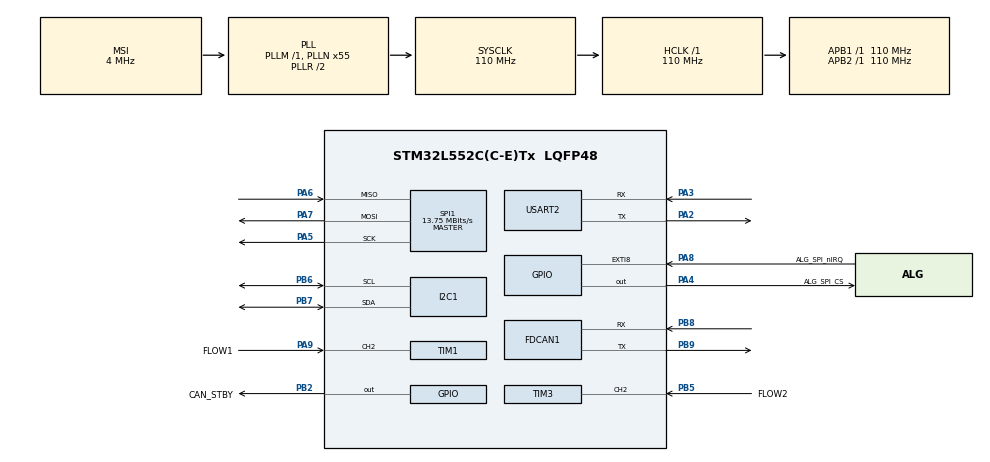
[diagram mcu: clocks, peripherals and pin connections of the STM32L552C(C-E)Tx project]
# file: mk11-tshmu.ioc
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Dma.I2C1_RX.0.Channel_PRIV_NPRIV=DMA_CHANNEL_NPRIV_DISABLE
Dma.I2C1_RX.0.Direction=DMA_PERIPH_TO_MEMORY
Dma.I2C1_RX.0.EventEnable=DISABLE
Dma.I2C1_RX.0.Instance=DMA1_Channel1
Dma.I2C1_RX.0.MemDataAlignment=DMA_MDATAALIGN_BYTE
Dma.I2C1_RX.0.MemInc=DMA_MINC_ENABLE
Dma.I2C1_RX.0.Mode=DMA_NORMAL
Dma.I2C1_RX.0.PeriphDataAlignment=DMA_PDATAALIGN_BYTE
Dma.I2C1_RX.0.PeriphInc=DMA_PINC_DISABLE
Dma.I2C1_RX.0.Polarity=HAL_DMAMUX_REQ_GEN_RISING
Dma.I2C1_RX.0.Priority=DMA_PRIORITY_LOW
Dma.I2C1_RX.0.RequestNumber=1
Dma.I2C1_RX.0.SignalID=NONE
Dma.I2C1_RX.0.SyncEnable=DISABLE
Dma.I2C1_RX.0.SyncPolarity=HAL_DMAMUX_SYNC_NO_EVENT
Dma.I2C1_RX.0.SyncRequestNumber=1
Dma.I2C1_RX.0.SyncSignalID=NONE
Dma.I2C1_TX.1.Channel_PRIV_NPRIV=DMA_CHANNEL_NPRIV_DISABLE
Dma.I2C1_TX.1.Direction=DMA_MEMORY_TO_PERIPH
Dma.I2C1_TX.1.EventEnable=DISABLE
Dma.I2C1_TX.1.Instance=DMA1_Channel2
Dma.I2C1_TX.1.MemDataAlignment=DMA_MDATAALIGN_BYTE
Dma.I2C1_TX.1.MemInc=DMA_MINC_ENABLE
Dma.I2C1_TX.1.Mode=DMA_NORMAL
Dma.I2C1_TX.1.PeriphDataAlignment=DMA_PDATAALIGN_BYTE
Dma.I2C1_TX.1.PeriphInc=DMA_PINC_DISABLE
Dma.I2C1_TX.1.Polarity=HAL_DMAMUX_REQ_GEN_RISING
Dma.I2C1_TX.1.Priority=DMA_PRIORITY_LOW
Dma.I2C1_TX.1.RequestNumber=1
Dma.I2C1_TX.1.SignalID=NONE
Dma.I2C1_TX.1.SyncEnable=DISABLE
Dma.I2C1_TX.1.SyncPolarity=HAL_DMAMUX_SYNC_NO_EVENT
Dma.I2C1_TX.1.SyncRequestNumber=1
Dma.I2C1_TX.1.SyncSignalID=NONE
Dma.Request0=I2C1_RX
Dma.Request1=I2C1_TX
Dma.Request2=SPI1_RX
Dma.Request3=SPI1_TX
Dma.SPI1_RX.2.Channel_PRIV_NPRIV=DMA_CHANNEL_NPRIV_DISABLE
Dma.SPI1_RX.2.Direction=DMA_PERIPH_TO_MEMORY
Dma.SPI1_RX.2.EventEnable=DISABLE
Dma.SPI1_RX.2.Instance=DMA1_Channel3
Dma.SPI1_RX.2.MemDataAlignment=DMA_MDATAALIGN_BYTE
Dma.SPI1_RX.2.MemInc=DMA_MINC_ENABLE
Dma.SPI1_RX.2.Mode=DMA_NORMAL
Dma.SPI1_RX.2.PeriphDataAlignment=DMA_PDATAALIGN_BYTE
Dma.SPI1_RX.2.PeriphInc=DMA_PINC_DISABLE
Dma.SPI1_RX.2.Polarity=HAL_DMAMUX_REQ_GEN_RISING
Dma.SPI1_RX.2.Priority=DMA_PRIORITY_LOW
Dma.SPI1_RX.2.RequestNumber=1
Dma.SPI1_RX.2.SignalID=NONE
Dma.SPI1_RX.2.SyncEnable=DISABLE
Dma.SPI1_RX.2.SyncPolarity=HAL_DMAMUX_SYNC_NO_EVENT
Dma.SPI1_RX.2.SyncRequestNumber=1
Dma.SPI1_RX.2.SyncSignalID=NONE
Dma.SPI1_TX.3.Channel_PRIV_NPRIV=DMA_CHANNEL_NPRIV_DISABLE
Dma.SPI1_TX.3.Direction=DMA_MEMORY_TO_PERIPH
Dma.SPI1_TX.3.EventEnable=DISABLE
Dma.SPI1_TX.3.Instance=DMA1_Channel4
Dma.SPI1_TX.3.MemDataAlignment=DMA_MDATAALIGN_BYTE
Dma.SPI1_TX.3.MemInc=DMA_MINC_ENABLE
Dma.SPI1_TX.3.Mode=DMA_NORMAL
Dma.SPI1_TX.3.PeriphDataAlignment=DMA_PDATAALIGN_BYTE
Dma.SPI1_TX.3.PeriphInc=DMA_PINC_DISABLE
Dma.SPI1_TX.3.Polarity=HAL_DMAMUX_REQ_GEN_RISING
Dma.SPI1_TX.3.Priority=DMA_PRIORITY_LOW
Dma.SPI1_TX.3.RequestNumber=1
Dma.SPI1_TX.3.SignalID=NONE
Dma.SPI1_TX.3.SyncEnable=DISABLE
Dma.SPI1_TX.3.SyncPolarity=HAL_DMAMUX_SYNC_NO_EVENT
Dma.SPI1_TX.3.SyncRequestNumber=1
Dma.SPI1_TX.3.SyncSignalID=NONE
FDCAN1.AutoRetransmission=ENABLE
FDCAN1.CalculateBaudRateNominal=999999
FDCAN1.CalculateTimeBitNominal=1000
FDCAN1.CalculateTimeQuantumNominal=45.45454545454546
FDCAN1.DataPrescaler=2
FDCAN1.DataSyncJumpWidth=2
FDCAN1.DataTimeSeg1=8
FDCAN1.DataTimeSeg2=2
FDCAN1.FrameFormat=FDCAN_FRAME_FD_BRS
FDCAN1.NominalPrescaler=5
FDCAN1.NominalSyncJumpWidth=4
FDCAN1.NominalTimeSeg1=17
FDCAN1.NominalTimeSeg2=4
FDCAN1.StdFiltersNbr=1
I2C1.Timing=0x60514452
Mcu.Family=STM32L5
Mcu.Name=STM32L552C(C-E)Tx
Mcu.Package=LQFP48
NVIC.DMA1_Channel1_IRQn=true\:0\:0\:false\:false\:true\:false\:true\:true
NVIC.DMA1_Channel2_IRQn=true\:0\:0\:false\:false\:true\:false\:true\:true
NVIC.DMA1_Channel3_IRQn=true\:0\:0\:false\:false\:true\:false\:true\:true
NVIC.DMA1_Channel4_IRQn=true\:0\:0\:false\:false\:true\:false\:true\:true
NVIC.EXTI8_IRQn=true\:0\:0\:false\:false\:true\:true\:true\:true
NVIC.I2C1_ER_IRQn=true\:0\:0\:false\:false\:true\:true\:true\:true
NVIC.I2C1_EV_IRQn=true\:0\:0\:false\:false\:true\:true\:true\:true
NVIC.PriorityGroup=NVIC_PRIORITYGROUP_3
NVIC.SPI1_IRQn=true\:0\:0\:false\:false\:true\:true\:true\:true
NVIC.TIM1_CC_IRQn=true\:0\:0\:false\:false\:true\:true\:true\:true
NVIC.TIM3_IRQn=true\:0\:0\:false\:false\:true\:true\:true\:true
PA2.Mode=Asynchronous
PA2.Signal=USART2_TX
PA3.Mode=Asynchronous
PA3.Signal=USART2_RX
PA4.GPIO_Label=ALG_SPI_CS
PA4.GPIO_Speed=GPIO_SPEED_FREQ_VERY_HIGH
PA4.PinState=GPIO_PIN_SET
PA4.Signal=GPIO_Output
PA5.GPIO_Speed=GPIO_SPEED_FREQ_HIGH
PA5.Mode=Full_Duplex_Master
PA5.Signal=SPI1_SCK
PA6.GPIO_PuPd=GPIO_PULLUP
PA6.GPIO_Speed=GPIO_SPEED_FREQ_HIGH
PA6.Mode=Full_Duplex_Master
PA6.Signal=SPI1_MISO
PA7.GPIO_PuPd=GPIO_PULLUP
PA7.GPIO_Speed=GPIO_SPEED_FREQ_HIGH
PA7.Mode=Full_Duplex_Master
PA7.Signal=SPI1_MOSI
PA8.GPIO_Label=ALG_SPI_nIRQ
PA8.GPIO_ModeDefaultEXTI=GPIO_MODE_IT_FALLING
PA8.Signal=GPXTI8
PA9.GPIO_Label=FLOW1
PA9.GPIO_PuPd=GPIO_PULLDOWN
PA9.Signal=S_TIM1_CH2
PB0.Signal=ADCx_IN15
PB2.GPIO_Label=CAN_STBY
PB2.GPIO_PuPd=GPIO_PULLDOWN
PB2.Signal=GPIO_Output
PB5.GPIO_Label=FLOW2
PB5.GPIO_PuPd=GPIO_PULLDOWN
PB5.Signal=S_TIM3_CH2
PB6.Mode=I2C
PB6.Signal=I2C1_SCL
PB7.Mode=I2C
PB7.Signal=I2C1_SDA
PB8.GPIO_Speed=GPIO_SPEED_FREQ_VERY_HIGH
PB8.Mode=FDCAN_Activate
PB8.Signal=FDCAN1_RX
PB9.GPIO_Speed=GPIO_SPEED_FREQ_VERY_HIGH
PB9.Mode=FDCAN_Activate
PB9.Signal=FDCAN1_TX
PH0-OSC_IN\ (PH0).Mode=HSE-External-Oscillator
PH0-OSC_IN\ (PH0).Signal=RCC_OSC_IN
PH1-OSC_OUT\ (PH1).Mode=HSE-External-Oscillator
PH1-OSC_OUT\ (PH1).Signal=RCC_OSC_OUT
ProjectManager.HeapSize=0x200
ProjectManager.StackSize=0x400
ProjectManager.TargetToolchain=STM32CubeIDE
RCC.AHBFreq_Value=110000000
RCC.APB1Freq_Value=110000000
RCC.APB1TimFreq_Value=110000000
RCC.APB2Freq_Value=110000000
RCC.APB2TimFreq_Value=110000000
RCC.CortexFreq_Value=110000000
RCC.HCLKFreq_Value=110000000
RCC.HSE_VALUE=16000000
RCC.HSI48_VALUE=48000000
RCC.HSI_VALUE=16000000
RCC.LSE_VALUE=32768
RCC.MSI_VALUE=4000000
RCC.PLLN=55
RCC.SYSCLKFreq_VALUE=110000000
RCC.SYSCLKSource=RCC_SYSCLKSOURCE_PLLCLK
RCC.VCOOutputFreq_Value=220000000
SH.ADCx_IN15.0=ADC1_IN15
SH.S_TIM1_CH2.0=TIM1_CH2,Input_Capture2_from_TI2
SH.S_TIM3_CH2.0=TIM3_CH2,Input_Capture2_from_TI2
SPI1.BaudRatePrescaler=SPI_BAUDRATEPRESCALER_8
SPI1.CalculateBaudRate=13.75 MBits/s
SPI1.DataSize=SPI_DATASIZE_8BIT
SPI1.Direction=SPI_DIRECTION_2LINES
SPI1.Mode=SPI_MODE_MASTER
SPI1.VirtualType=VM_MASTER
TIM1.Channel-Input_Capture2_from_TI2=TIM_CHANNEL_2
TIM1.ICFilter_CH2=8
TIM1.Prescaler=1099
TIM3.Channel-Input_Capture2_from_TI2=TIM_CHANNEL_2
TIM3.ICFilter_CH2=8
TIM3.Prescaler=1099
USART2.VirtualMode-Asynchronous=VM_ASYNC
VP_ICACHE_VS_ICACHE.Mode=DefaultMode
VP_PWR_VS_DBSignals.Mode=DisableDeadBatterySignals
VP_PWR_VS_SECSignals.Mode=Security/Privilege
VP_TIM1_VS_ClockSourceINT.Mode=Internal
VP_TIM3_VS_ClockSourceINT.Mode=Internal
board=custom

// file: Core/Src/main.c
/* USER CODE BEGIN Header */
/**
  ******************************************************************************
  * @file           : main.c
  * @brief          : Main program body
  ******************************************************************************
  * @attention
  *
  * Copyright (c) 2026 STMicroelectronics.
  * All rights reserved.
  *
  * This software is licensed under terms that can be found in the LICENSE file
  * in the root directory of this software component.
  * If no LICENSE file comes with this software, it is provided AS-IS.
  *
  ******************************************************************************
  */
/* USER CODE END Header */
#include "main.h"
#include "dma.h"
#include "fdcan.h"
#include "i2c.h"
#include "icache.h"
#include "spi.h"
#include "tim.h"
#include "usart.h"
#include "gpio.h"

/* USER CODE BEGIN Includes */
#include "tshmu_gui.h"
#include "sh1106.h"
#include "mcp3464.h"
#include <stdio.h>
#include <math.h>
/* USER CODE END Includes */

/* USER CODE BEGIN PTD */
typedef struct __attribute__((packed)) {
    uint16_t raw1;              // 2 bytes (raw pulses)
    uint16_t flow1;             // 2 bytes (scaled * 10.0f)
    uint16_t raw2;              // 2 bytes (raw pulses)
    uint16_t flow2;             // 2 bytes (scaled * 10.0f)
    int8_t   jitter_us;         // 1 byte (us deviation)
} DualFlowSample_t;

typedef struct __attribute__((packed)) {
    uint32_t base_timestamp;    // Bytes 0-3
    uint16_t error_flags;       // Bytes 4-5
    DualFlowSample_t samples[6]; // Bytes 6-59 (54 bytes)
    uint8_t  padding[4];        // Bytes 60-63
} DualFlowFDFrame_t;

typedef struct __attribute__((packed)) {
    int16_t temp1;              // 2 bytes
    int16_t temp2;              // 2 bytes
    int16_t temp3;              // 2 bytes
    int16_t temp4;              // 2 bytes
    int16_t temp5;              // 2 bytes
    int16_t temp6;              // 2 bytes
    int8_t  jitter_ms;          // 1 byte
} TshmuTempHistoryBlock_t;      // 13 bytes total

typedef struct __attribute__((packed)) {
    uint32_t base_timestamp;            // Bytes 0-3
    uint16_t error_flags;               // Bytes 4-5
    TshmuTempHistoryBlock_t blocks[4];  // 4 elements * 13 bytes = 52 bytes (Bytes 6-57)
    uint8_t  padding[6];                // Bytes 58-63
} TshmuTempFDFrame_t;                   // 64 bytes total
/* USER CODE END PTD */

/* USER CODE BEGIN PD */
#define TSHMU_BOARD_0 0
#define TSHMU_BOARD_1 1
#define ACTIVE_BOARD_ID   TSHMU_BOARD_1  // Compile-time board selection: TSHMU_BOARD_0 or TSHMU_BOARD_1

#if (ACTIVE_BOARD_ID == TSHMU_BOARD_0)
#define F_FACTOR 0.174450f
#define FLOW_OFFSET 0.809173f
#elif (ACTIVE_BOARD_ID == TSHMU_BOARD_1)
#define F_FACTOR 0.1765f
#define FLOW_OFFSET 1.58f
#else
#error "Invalid ACTIVE_BOARD_ID configured for flow calibration!"
#endif

#define THERM_T0        	298.15f    	// 25C in Kelvin
#define THERM_VREF      	3.3f
/* USER CODE END PD */

/* USER CODE BEGIN PV */
uint32_t last_report_time = 0;
uint8_t TSHMU_BOARD_ID = ACTIVE_BOARD_ID;

MCP3464_Handle tshmuAdc = { ALG_SPI_CS_GPIO_Port, ALG_SPI_CS_Pin, &hspi1 };

#if (ACTIVE_BOARD_ID == TSHMU_BOARD_0)
// Board 0 calibrated/nominal values
static const float therm_R_series[6] = {10000.0f, 10000.0f, 10000.0f, 10000.0f, 10000.0f, 10000.0f};
static const float therm_R0[6] = {50000.0f, 10000.0f, 10000.0f, 10000.0f, 10000.0f, 10000.0f};
static const float therm_Beta[6] = {3950.0f, 3694.0f, 3694.0f, 3694.0f, 3694.0f, 3694.0f};
static const float therm_Offset[6] = {0.0f, -1.7f, -1.7f, -1.7f, -1.7f, -1.7f};
#elif (ACTIVE_BOARD_ID == TSHMU_BOARD_1)
// Board 1 calibrated/nominal values
static const float therm_R_series[6] = {10000.0f, 10000.0f, 10000.0f, 10000.0f, 10000.0f, 10000.0f};
static const float therm_R0[6] = {10000.0f, 10000.0f, 10000.0f, 10000.0f, 10000.0f, 10000.0f};
static const float therm_Beta[6] = {3694.0f, 3694.0f, 3694.0f, 3694.0f, 3694.0f, 3694.0f};
static const float therm_Offset[6] = {-1.7f, -1.7f, -1.7f, -1.7f, -1.7f, -1.7f};
#else
#error "Invalid ACTIVE_BOARD_ID configured!"
#endif

// Thermistor channels buffer & results
volatile float therm_voltages[6] = {0};
volatile float therm_temperatures[6] = {0};
uint32_t sampleCount = 0; // needed by mcp3464.c

// CAN Variables
FDCAN_TxHeaderTypeDef canFlowTxHeader;
DualFlowFDFrame_t flow_tx_frame = {0};
uint8_t flow_sample_idx = 0;
uint32_t flow_base_timestamp_ms = 0;

FDCAN_TxHeaderTypeDef canTempTxHeader;
TshmuTempFDFrame_t temp_tx_frame = {0};
uint8_t temp_sample_idx = 0;
uint32_t temp_base_timestamp_ms = 0;
uint32_t last_temp_time = 0;

volatile uint8_t can_tec = 0;
volatile uint8_t can_rec = 0;
volatile uint32_t can_psr = 0;
volatile HAL_StatusTypeDef can_send_status = HAL_OK;
volatile uint32_t can_tx_count = 0;
volatile uint32_t fdcan_rx_count = 0;
volatile uint32_t can_error_count = 0;
volatile uint32_t can_last_error = 0;

// Variables for FLOW1 (TIM1_CH2)
volatile uint32_t last_capture_1 = 0;
volatile uint32_t current_capture_1 = 0;
volatile uint32_t diff_capture_1 = 0;
volatile uint8_t first_capture_1 = 0;
volatile float input_frequency_1 = 0.0f;
volatile uint32_t pulse_count_1 = 0;
volatile uint32_t cumulative_pulses_1 = 0;
volatile uint32_t last_capture_time_1 = 0;
volatile float inst_flowRate_1 = 0.0f;
volatile float acc_flowRate_1 = 0.0f;

// Variables for FLOW2 (TIM3_CH2)
volatile uint32_t last_capture_2 = 0;
volatile uint32_t current_capture_2 = 0;
volatile uint32_t diff_capture_2 = 0;
volatile uint8_t first_capture_2 = 0;
volatile float input_frequency_2 = 0.0f;
volatile uint32_t pulse_count_2 = 0;
volatile uint32_t cumulative_pulses_2 = 0;
volatile uint32_t last_capture_time_2 = 0;
volatile float inst_flowRate_2 = 0.0f;
volatile float acc_flowRate_2 = 0.0f;

/* USER CODE END PV */

void SystemClock_Config(void);
/* USER CODE BEGIN PFP */
float Thermistor_Voltage_To_Resistance(float voltage, float rSeries);
float Thermistor_Resistance_To_Kelvin(float resistance, float r0, float beta);
float Thermistor_Voltage_To_Celsius(float voltage, float rSeries, float r0, float beta);
float Get_Temperature_From_Table(float voltage, float rSeries);
/* USER CODE END PFP */

/* USER CODE BEGIN 0 */
int _write(int file, char *ptr, int len) {
  HAL_UART_Transmit(&huart2, (uint8_t *)ptr, len, HAL_MAX_DELAY);
  return len;
}
/* USER CODE END 0 */

int main(void)
{

  /* MCU Configuration--------------------------------------------------------*/

  /* Reset of all peripherals, Initializes the Flash interface and the Systick. */
  HAL_Init();

  /* Configure the system clock */
  SystemClock_Config();

  /* Initialize all configured peripherals */
  MX_GPIO_Init();
  MX_DMA_Init();
  MX_FDCAN1_Init();
  MX_I2C1_Init();
  MX_SPI1_Init();
  MX_ICACHE_Init();
  MX_TIM1_Init();
  MX_TIM3_Init();
  MX_USART2_UART_Init();
  /* USER CODE BEGIN 2 */
  /* Manually configure PB2 as output low to enable the CAN transceiver (Standby pin) */
  __HAL_RCC_GPIOB_CLK_ENABLE();
  HAL_GPIO_WritePin(GPIOB, GPIO_PIN_2, GPIO_PIN_RESET);
  GPIO_InitTypeDef GPIO_InitStructPB2 = {0};
  GPIO_InitStructPB2.Pin = GPIO_PIN_2;
  GPIO_InitStructPB2.Mode = GPIO_MODE_OUTPUT_PP;
  GPIO_InitStructPB2.Pull = GPIO_PULLDOWN;
  GPIO_InitStructPB2.Speed = GPIO_SPEED_FREQ_LOW;
  HAL_GPIO_Init(GPIOB, &GPIO_InitStructPB2);

  SH1106_Init();
  UI_InitDashboard();

  HAL_TIM_IC_Start_IT(&htim1, TIM_CHANNEL_2);
  HAL_TIM_IC_Start_IT(&htim3, TIM_CHANNEL_2);

  canFlowTxHeader.Identifier = 0x100 | (TSHMU_BOARD_ID << 3) | 0x02; // Dynamically sets 0x102 (TSHMU 0) or 0x10A (TSHMU 1)
  canFlowTxHeader.IdType = FDCAN_STANDARD_ID;
  canFlowTxHeader.TxFrameType = FDCAN_DATA_FRAME;
  canFlowTxHeader.DataLength = FDCAN_DLC_BYTES_64;
  canFlowTxHeader.ErrorStateIndicator = FDCAN_ESI_ACTIVE;
  canFlowTxHeader.BitRateSwitch = FDCAN_BRS_OFF;
  canFlowTxHeader.FDFormat = FDCAN_FD_CAN;
  canFlowTxHeader.TxEventFifoControl = FDCAN_NO_TX_EVENTS;
  canFlowTxHeader.MessageMarker = 0;

  canTempTxHeader.Identifier = 0x100 | (TSHMU_BOARD_ID << 3) | 0x03; // Dynamically sets 0x103 (TSHMU 0) or 0x10B (TSHMU 1)
  canTempTxHeader.IdType = FDCAN_STANDARD_ID;
  canTempTxHeader.TxFrameType = FDCAN_DATA_FRAME;
  canTempTxHeader.DataLength = FDCAN_DLC_BYTES_64;
  canTempTxHeader.ErrorStateIndicator = FDCAN_ESI_ACTIVE;
  canTempTxHeader.BitRateSwitch = FDCAN_BRS_OFF;
  canTempTxHeader.FDFormat = FDCAN_FD_CAN;
  canTempTxHeader.TxEventFifoControl = FDCAN_NO_TX_EVENTS;
  canTempTxHeader.MessageMarker = 0;

  FDCAN_FilterTypeDef sFilterConfig = {0};
  sFilterConfig.IdType = FDCAN_STANDARD_ID;
  sFilterConfig.FilterIndex = 0;
  sFilterConfig.FilterType = FDCAN_FILTER_RANGE;
  sFilterConfig.FilterConfig = FDCAN_FILTER_TO_RXFIFO0;
  sFilterConfig.FilterID1 = 0x000;
  sFilterConfig.FilterID2 = 0x7FF;

  if (HAL_FDCAN_ConfigFilter(&hfdcan1, &sFilterConfig) != HAL_OK)
  {
    Error_Handler();
  }

  HAL_FDCAN_Start(&hfdcan1);

  /* Deassert SPI CS pin — CubeMX initializes CS low */
  HAL_GPIO_WritePin(ALG_SPI_CS_GPIO_Port, ALG_SPI_CS_Pin, GPIO_PIN_SET);

  /* Initialize MCP3464 external ADC in SCAN mode */
  MCP3464_Init(&tshmuAdc);
  MCP3464_SetMode(&tshmuAdc, MCP3464_MODE_SCAN, 0, OSR_2048);

  /* Clear stale EXTI flags and start continuous DMA read */
  __HAL_GPIO_EXTI_CLEAR_FLAG(ALG_SPI_nIRQ_Pin);
  MCP3464_StartContinuous_DMA(&tshmuAdc);

  /* Trigger the first read if the IRQ pin is already low */
  if (HAL_GPIO_ReadPin(ALG_SPI_nIRQ_GPIO_Port, ALG_SPI_nIRQ_Pin) == GPIO_PIN_RESET) {
    MCP3464_ArmRead(&tshmuAdc);
  }

  last_report_time = HAL_GetTick();
  last_temp_time = HAL_GetTick();
  /* USER CODE END 2 */

  /* Infinite loop */
  /* USER CODE BEGIN WHILE */
  while (1)
  {
    uint32_t now = HAL_GetTick();
    if ((now - last_report_time) >= 100)
    {
      uint32_t elapsed_ms = now - last_report_time;
      last_report_time = now;

      // FLOW1 Calculation
      float inst_freq_1 = 0.0f;
      if ((now - last_capture_time_1) < 1500 && first_capture_1)
      {
        __disable_irq();
        inst_freq_1 = input_frequency_1;
        __enable_irq();
      }

      if (inst_freq_1 > 0.0f) {
        inst_flowRate_1 = (inst_freq_1 * F_FACTOR) + FLOW_OFFSET;
      } else {
        inst_flowRate_1 = 0.0f;
      }

      __disable_irq();
      uint32_t current_pulses_1 = pulse_count_1;
      pulse_count_1 = 0;
      __enable_irq();

      float acc_freq_1 = ((float)current_pulses_1 * 1000.0f) / (float)elapsed_ms;
      if (current_pulses_1 > 0) {
        acc_flowRate_1 = (acc_freq_1 * F_FACTOR) + FLOW_OFFSET;
      } else {
        acc_flowRate_1 = 0.0f;
      }

      // FLOW2 Calculation
      float inst_freq_2 = 0.0f;
      if ((now - last_capture_time_2) < 1500 && first_capture_2)
      {
        __disable_irq();
        inst_freq_2 = input_frequency_2;
        __enable_irq();
      }

      if (inst_freq_2 > 0.0f) {
        inst_flowRate_2 = (inst_freq_2 * F_FACTOR) + FLOW_OFFSET;
      } else {
        inst_flowRate_2 = 0.0f;
      }

      __disable_irq();
      uint32_t current_pulses_2 = pulse_count_2;
      pulse_count_2 = 0;
      __enable_irq();

      float acc_freq_2 = ((float)current_pulses_2 * 1000.0f) / (float)elapsed_ms;
      if (current_pulses_2 > 0) {
        acc_flowRate_2 = (acc_freq_2 * F_FACTOR) + FLOW_OFFSET;
      } else {
        acc_flowRate_2 = 0.0f;
      }

      printf("%lu,%lu,%d,%lu,%d\r\n", now, current_pulses_1, (int)(inst_flowRate_1 * 1000), current_pulses_2, (int)(inst_flowRate_2 * 1000));

      // CAN Data Packing
      if (flow_sample_idx == 0)
      {
        flow_base_timestamp_ms = now;
      }

      int32_t deviation_ms = (int32_t)elapsed_ms - 100;
      int32_t jitter_us = deviation_ms * 1000;
      if (jitter_us > 127) jitter_us = 127;
      if (jitter_us < -128) jitter_us = -128;

      UI_UpdateRenderCycles(inst_flowRate_1, current_pulses_1, inst_flowRate_2, current_pulses_2, now);

      if (tshmuAdc.running && !tshmuAdc.transferPending &&
          HAL_GPIO_ReadPin(ALG_SPI_nIRQ_GPIO_Port, ALG_SPI_nIRQ_Pin) == GPIO_PIN_RESET)
      {
        MCP3464_ArmRead(&tshmuAdc);
      }

      if (flow_sample_idx < 6)
      {
        flow_tx_frame.samples[flow_sample_idx].raw1 = (uint16_t)current_pulses_1;
        flow_tx_frame.samples[flow_sample_idx].flow1 = (uint16_t)(inst_flowRate_1 * 10.0f);
        flow_tx_frame.samples[flow_sample_idx].raw2 = (uint16_t)current_pulses_2;
        flow_tx_frame.samples[flow_sample_idx].flow2 = (uint16_t)(inst_flowRate_2 * 10.0f);
        flow_tx_frame.samples[flow_sample_idx].jitter_us = (int8_t)jitter_us;
        flow_sample_idx++;
      }

      if (flow_sample_idx >= 6)
      {
        flow_tx_frame.base_timestamp = flow_base_timestamp_ms;
        flow_tx_frame.error_flags = 0; // Simple error flags for now

        HAL_StatusTypeDef tx_status = HAL_FDCAN_AddMessageToTxFifoQ(&hfdcan1, &canFlowTxHeader, (uint8_t*)&flow_tx_frame);
        can_send_status = tx_status;
        if (tx_status == HAL_OK) {
          can_tx_count++;
        } else {
          can_error_count++;
          can_last_error = hfdcan1.ErrorCode;
        }

        flow_sample_idx = 0;
      }
    }

    // Temperature Sampling & Transmission
    if ((now - last_temp_time) >= 150)
    {
      uint32_t elapsed_temp_ms = now - last_temp_time;
      last_temp_time = now;

      if (temp_sample_idx == 0)
      {
        temp_base_timestamp_ms = now;
      }

      int32_t deviation_ms = (int32_t)elapsed_temp_ms - 150;
      if (deviation_ms > 127) deviation_ms = 127;
      if (deviation_ms < -128) deviation_ms = -128;

      if (temp_sample_idx < 4)
      {
        temp_tx_frame.blocks[temp_sample_idx].temp1 = (int16_t)(therm_voltages[0] * 1000.0f);
        temp_tx_frame.blocks[temp_sample_idx].temp2 = (int16_t)(therm_voltages[1] * 1000.0f);
        temp_tx_frame.blocks[temp_sample_idx].temp3 = (int16_t)(therm_voltages[2] * 1000.0f);
        temp_tx_frame.blocks[temp_sample_idx].temp4 = (int16_t)(therm_voltages[3] * 1000.0f);
        temp_tx_frame.blocks[temp_sample_idx].temp5 = (int16_t)(therm_voltages[4] * 1000.0f);
        temp_tx_frame.blocks[temp_sample_idx].temp6 = (int16_t)(therm_voltages[5] * 1000.0f);
        temp_tx_frame.blocks[temp_sample_idx].jitter_ms = (int8_t)deviation_ms;
        temp_sample_idx++;
      }

      if (temp_sample_idx >= 4)
      {
        temp_tx_frame.base_timestamp = temp_base_timestamp_ms;
        temp_tx_frame.error_flags = 0;
        memset(temp_tx_frame.padding, 0, sizeof(temp_tx_frame.padding));

        HAL_StatusTypeDef tx_status = HAL_FDCAN_AddMessageToTxFifoQ(&hfdcan1, &canTempTxHeader, (uint8_t*)&temp_tx_frame);
        can_send_status = tx_status;
        if (tx_status == HAL_OK) {
          can_tx_count++;
        } else {
          can_error_count++;
          can_last_error = hfdcan1.ErrorCode;
        }

        temp_sample_idx = 0;
      }
      /* Poll FDCAN status registers for live diagnostics */
      can_tec = (FDCAN1->ECR >> 16) & 0xFF;
      can_rec = FDCAN1->ECR & 0xFF;
      can_psr = FDCAN1->PSR;
    }

    // Poll received CAN messages to detect network activity
    if (HAL_FDCAN_GetRxFifoFillLevel(&hfdcan1, FDCAN_RX_FIFO0) > 0)
    {
      FDCAN_RxHeaderTypeDef rxHeader;
      uint8_t rxData[64];
      if (HAL_FDCAN_GetRxMessage(&hfdcan1, FDCAN_RX_FIFO0, &rxHeader, rxData) == HAL_OK)
      {
        fdcan_rx_count++;
      }
    }

    // Stuck-transmission watchdog & Bus-Off recovery (1Hz periodic execution)
    static uint32_t last_watchdog_time_ms = 0;
    static uint8_t can_network_detected = 0U;
    static uint32_t last_tx_count = 0U;
    static uint32_t tx_stuck_seconds = 0U;

    if (now - last_watchdog_time_ms >= 1000)
    {
      last_watchdog_time_ms = now;

      if (!can_network_detected && fdcan_rx_count > 0U)
      {
        can_network_detected = 1U;
      }

      if (can_network_detected)
      {
        if (hfdcan1.Instance != NULL && hfdcan1.Instance->TXBRP != 0U && can_tx_count == last_tx_count)
        {
          tx_stuck_seconds++;
          if (tx_stuck_seconds >= 5U)
          {
            // Reset system to recover FDCAN state
            NVIC_SystemReset();
          }
        }
        else
        {
          tx_stuck_seconds = 0U;
          last_tx_count = can_tx_count;
        }
      }
      else
      {
        last_tx_count = can_tx_count;
      }

      /* Auto-recover from bus-off */
      FDCAN_ProtocolStatusTypeDef psr = {0};
      if (HAL_FDCAN_GetProtocolStatus(&hfdcan1, &psr) == HAL_OK)
      {
        if (psr.BusOff != 0U)
        {
          (void)HAL_FDCAN_Start(&hfdcan1);
        }
      }
    }
    /* USER CODE END WHILE */

  }
}

void SystemClock_Config(void)
{
  RCC_OscInitTypeDef RCC_OscInitStruct = {0};
  RCC_ClkInitTypeDef RCC_ClkInitStruct = {0};

  /** Configure the main internal regulator output voltage
  */
  if (HAL_PWREx_ControlVoltageScaling(PWR_REGULATOR_VOLTAGE_SCALE0) != HAL_OK)
  {
    Error_Handler();
  }

  /** Initializes the RCC Oscillators according to the specified parameters
  * in the RCC_OscInitTypeDef structure.
  */
  RCC_OscInitStruct.OscillatorType = RCC_OSCILLATORTYPE_MSI;
  RCC_OscInitStruct.MSIState = RCC_MSI_ON;
  RCC_OscInitStruct.MSICalibrationValue = RCC_MSICALIBRATION_DEFAULT;
  RCC_OscInitStruct.MSIClockRange = RCC_MSIRANGE_6;
  RCC_OscInitStruct.PLL.PLLState = RCC_PLL_ON;
  RCC_OscInitStruct.PLL.PLLSource = RCC_PLLSOURCE_MSI;
  RCC_OscInitStruct.PLL.PLLM = 1;
  RCC_OscInitStruct.PLL.PLLN = 55;
  RCC_OscInitStruct.PLL.PLLP = RCC_PLLP_DIV7;
  RCC_OscInitStruct.PLL.PLLQ = RCC_PLLQ_DIV2;
  RCC_OscInitStruct.PLL.PLLR = RCC_PLLR_DIV2;
  if (HAL_RCC_OscConfig(&RCC_OscInitStruct) != HAL_OK)
  {
    Error_Handler();
  }

  /** Initializes the CPU, AHB and APB buses clocks
  */
  RCC_ClkInitStruct.ClockType = RCC_CLOCKTYPE_HCLK|RCC_CLOCKTYPE_SYSCLK
                              |RCC_CLOCKTYPE_PCLK1|RCC_CLOCKTYPE_PCLK2;
  RCC_ClkInitStruct.SYSCLKSource = RCC_SYSCLKSOURCE_PLLCLK;
  RCC_ClkInitStruct.AHBCLKDivider = RCC_SYSCLK_DIV1;
  RCC_ClkInitStruct.APB1CLKDivider = RCC_HCLK_DIV1;
  RCC_ClkInitStruct.APB2CLKDivider = RCC_HCLK_DIV1;

  if (HAL_RCC_ClockConfig(&RCC_ClkInitStruct, FLASH_LATENCY_5) != HAL_OK)
  {
    Error_Handler();
  }
}

/* USER CODE BEGIN 4 */
void HAL_I2C_MasterTxCpltCallback(I2C_HandleTypeDef *hi2c) {
  UI_HandleI2C_MasterTxCplt(hi2c);
}

void HAL_TIM_IC_CaptureCallback(TIM_HandleTypeDef *htim)
{
  if (htim->Instance == TIM1 && htim->Channel == HAL_TIM_ACTIVE_CHANNEL_2)
  {
    current_capture_1 = HAL_TIM_ReadCapturedValue(htim, TIM_CHANNEL_2);
    pulse_count_1++;
    cumulative_pulses_1++;
    last_capture_time_1 = HAL_GetTick();

    if (first_capture_1 == 0)
    {
      last_capture_1 = current_capture_1;
      first_capture_1 = 1;
    }
    else
    {
      uint32_t diff = 0;
      if (current_capture_1 >= last_capture_1)
      {
        diff = current_capture_1 - last_capture_1;
      }
      else
      {
        diff = (65535U - last_capture_1) + current_capture_1;
      }

      if (diff > 5)
      {
        diff_capture_1 = diff;
        input_frequency_1 = 50000.0f / (float)diff_capture_1;
      }
      last_capture_1 = current_capture_1;
    }
  }
  else if (htim->Instance == TIM3 && htim->Channel == HAL_TIM_ACTIVE_CHANNEL_2)
  {
    current_capture_2 = HAL_TIM_ReadCapturedValue(htim, TIM_CHANNEL_2);
    pulse_count_2++;
    cumulative_pulses_2++;
    last_capture_time_2 = HAL_GetTick();

    if (first_capture_2 == 0)
    {
      last_capture_2 = current_capture_2;
      first_capture_2 = 1;
    }
    else
    {
      uint32_t diff = 0;
      if (current_capture_2 >= last_capture_2)
      {
        diff = current_capture_2 - last_capture_2;
      }
      else
      {
        diff = (65535U - last_capture_2) + current_capture_2;
      }

      if (diff > 5)
      {
        diff_capture_2 = diff;
        input_frequency_2 = 50000.0f / (float)diff_capture_2;
      }
      last_capture_2 = current_capture_2;
    }
  }
}

void HAL_GPIO_EXTI_Falling_Callback(uint16_t GPIO_Pin)
{
  if (GPIO_Pin == ALG_SPI_nIRQ_Pin)
  {
    MCP3464_ArmRead(&tshmuAdc);
  }
}

void HAL_SPI_TxRxCpltCallback(SPI_HandleTypeDef *hspi) {
  if (hspi->Instance == SPI1) {
    if (tshmuAdc.config.reg.config3.DATA_FORMAT == FORMAT_32_CHID) {
      uint8_t raw_ch = (tshmuAdc.rxBuf[1] >> 4);
      if (raw_ch < 6) {
        // Correct channel routing mapping (raw 0<->1, 2<->3, 4<->5)
        uint8_t chID = raw_ch ^ 1;
        uint16_t uraw = ((uint16_t)tshmuAdc.rxBuf[3] << 8) | tshmuAdc.rxBuf[4];
        uint8_t sgn = tshmuAdc.rxBuf[1] & 0x0F;
        float voltage;
        if (sgn == 0x0F) {
          voltage = (float)(int16_t)uraw * (THERM_VREF / 32768.0f);
        } else {
          voltage = (float)uraw * (THERM_VREF / 32768.0f);
        }
        therm_voltages[chID] = voltage;

        float new_temp;
        if (therm_Beta[chID] == 3694.0f) {
          new_temp = Get_Temperature_From_Table(voltage, therm_R_series[chID]) + therm_Offset[chID];
        } else {
          if (voltage <= 0.0f || voltage >= (THERM_VREF - 0.001f)) {
            new_temp = 0.0f;
          } else {
            new_temp = Thermistor_Voltage_To_Celsius(voltage, therm_R_series[chID], therm_R0[chID], therm_Beta[chID]) + therm_Offset[chID];
          }
        }

        // Exponential Moving Average (EMA) software filter to remove ~40mV of electrical noise
        if (therm_temperatures[chID] == 0.0f) {
            therm_temperatures[chID] = new_temp; // Initialize instantly on boot
        } else {
            therm_temperatures[chID] = (therm_temperatures[chID] * 0.9f) + (new_temp * 0.1f);
        }
      }
    }
    MCP3464_TxRxCpltCallback(&tshmuAdc);
  }
}

// --- Configuration ---
#define GA10K_TABLE_SIZE 76

/* * Binary Search Lookup Table: Resistance -> Temperature (°C)
 * Based directly on the empirical resistance table provided.
 * Range: 10C (18787 ohm) to 85C (1255 ohm) in 1C steps.
 */
static const float ga10k_res_table[GA10K_TABLE_SIZE] = {
    18787.0f, 17983.0f, 17219.0f, 16490.0f, 15797.0f, 15136.0f, 14506.0f, 13906.0f,
    13334.0f, 12788.0f, 12268.0f, 11771.0f, 11297.0f, 10845.0f, 10413.0f, 10000.0f,
    9606.0f, 9229.0f, 8869.0f, 8525.0f, 8196.0f, 7882.0f, 7581.0f, 7293.0f,
    7018.0f, 6754.0f, 6501.0f, 6260.0f, 6028.0f, 5806.0f, 5594.0f, 5390.0f,
    5195.0f, 5007.0f, 4828.0f, 4656.0f, 4490.0f, 4332.0f, 4180.0f, 4034.0f,
    3893.0f, 3759.0f, 3629.0f, 3505.0f, 3386.0f, 3271.0f, 3160.0f, 3054.0f,
    2952.0f, 2854.0f, 2760.0f, 2669.0f, 2582.0f, 2498.0f, 2417.0f, 2339.0f,
    2264.0f, 2191.0f, 2122.0f, 2055.0f, 1990.0f, 1928.0f, 1868.0f, 1810.0f,
    1754.0f, 1700.0f, 1648.0f, 1598.0f, 1550.0f, 1503.0f, 1458.0f, 1414.0f,
    1372.0f, 1332.0f, 1293.0f, 1255.0f
};

/**
 * @brief  Converts a measured voltage to Temperature via empirical resistance LUT.
 * @param  voltage  Voltage reading (0.0f to THERM_VREF)
 * @param  rSeries  Series pull-up resistor value
 * @retval float    Interpolated Temperature in Celsius
 */
float Get_Temperature_From_Table(float voltage, float rSeries) {
    if (voltage <= 0.001f) return 125.0f; // Short circuit
    if (voltage >= (THERM_VREF - 0.001f)) return -40.0f; // Open circuit

    // 1. Calculate actual resistance
    float resistance = rSeries * voltage / (THERM_VREF - voltage);

    // 2. Bounds checking
    if (resistance >= ga10k_res_table[0]) {
        return 10.0f; // Cap at bottom of table
    }
    if (resistance <= ga10k_res_table[GA10K_TABLE_SIZE - 1]) {
        return 85.0f; // Cap at top of table
    }

    // 3. Binary search for closest bounding resistances
    // Note: The array is strictly decreasing!
    int low = 0;
    int high = GA10K_TABLE_SIZE - 1;
    while (high - low > 1) {
        int mid = (low + high) >> 1;
        if (resistance < ga10k_res_table[mid]) {
            low = mid;
        } else {
            high = mid;
        }
    }

    // 4. Linear interpolation between ga10k_res_table[low] and ga10k_res_table[high]
    float r_low = ga10k_res_table[low];
    float r_high = ga10k_res_table[high];

    // Fraction of the way from r_low down to r_high
    float fraction = (r_low - resistance) / (r_low - r_high);

    // Table starts at 10.0C, and each index adds 1.0C
    return 10.0f + (float)low + fraction;
}

float Thermistor_Voltage_To_Resistance(float voltage, float rSeries)
{
  if (voltage <= 0.001f)
    voltage = 0.001f;
  if (voltage >= (THERM_VREF - 0.001f))
    voltage = THERM_VREF - 0.001f;
  // Low-side thermistor configuration:
  // Vout = Vref * Rtherm / (Rpullup + Rtherm) -> Rtherm = Rpullup * Vout / (Vref - Vout)
  return rSeries * voltage / (THERM_VREF - voltage);
}

float Thermistor_Resistance_To_Kelvin(float resistance, float r0, float beta)
{
  float invT = (1.0f / THERM_T0) + (1.0f / beta) * logf(resistance / r0);
  return 1.0f / invT;
}

float Thermistor_Voltage_To_Celsius(float voltage, float rSeries, float r0, float beta)
{
  float resistance = Thermistor_Voltage_To_Resistance(voltage, rSeries);
  float tempK = Thermistor_Resistance_To_Kelvin(resistance, r0, beta);
  return tempK - 273.15f;
}
/* USER CODE END 4 */

void Error_Handler(void)
{
  __disable_irq();
  while (1)
  {
  }
}
